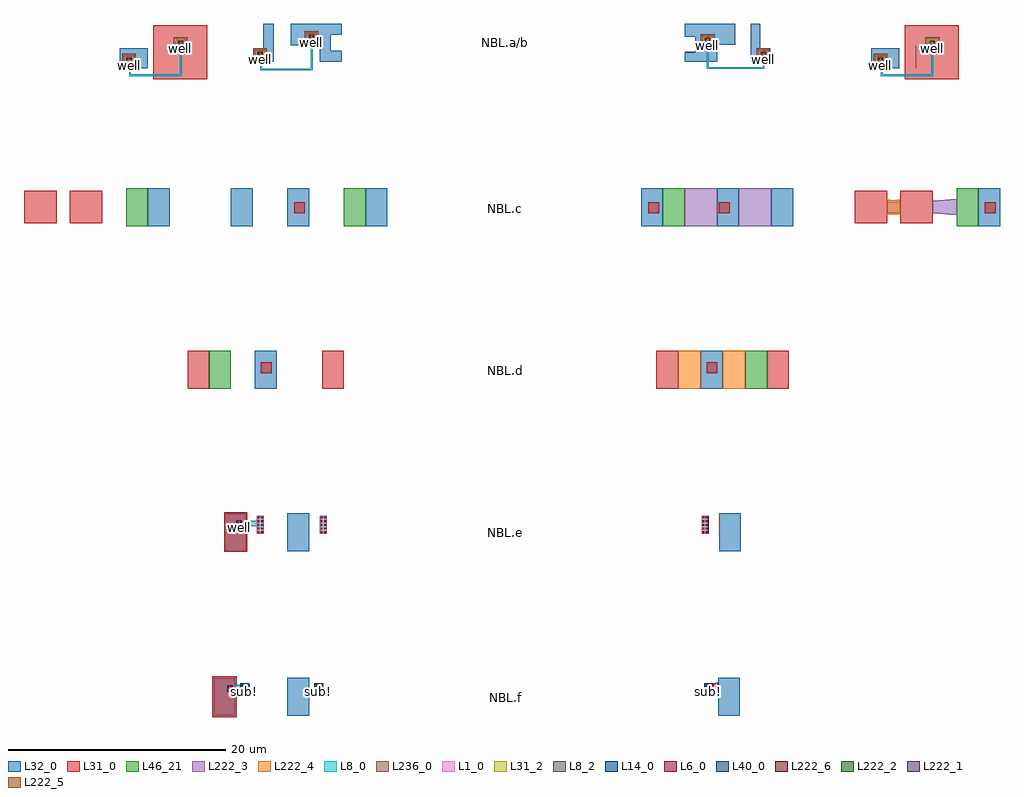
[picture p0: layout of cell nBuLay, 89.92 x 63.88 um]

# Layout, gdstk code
import gdstk
lib = gdstk.Library(unit=1e-6, precision=1e-09)
def R(c, l, rs):  # rectangles x0, y0, x1, y1
    for r in rs: c.add(gdstk.rectangle(r[:2], r[2:], *l))
def A(c, l, x, y, w, h, nx, ny, dx, dy):  # array of equal rectangles
    R(c, l, [(x+i*dx, y+j*dy, x+i*dx+w, y+j*dy+h) for i in range(nx) for j in range(ny)])
def P(c, l, *ps):  # polygons
    for p in ps: c.add(gdstk.Polygon(p, *l))
L1_0 = (1, 0)
L6_0 = (6, 0)
L8_0 = (8, 0)
L8_2 = (8, 2)
L14_0 = (14, 0)
L31_0 = (31, 0)
L31_2 = (31, 2)
L32_0 = (32, 0)
L40_0 = (40, 0)
L46_21 = (46, 21)
L222_1 = (222, 1)
L222_2 = (222, 2)
L222_3 = (222, 3)
L222_4 = (222, 4)
L222_5 = (222, 5)
L222_6 = (222, 6)
L236_0 = (236, 0)

nbulay = lib.new_cell('nBuLay')
R(nbulay, L1_0, [(-25.79,-67.235,-25.01,-66.455), (-24.405,-67.15,-23.625,-66.37), (-17.605,-67.15,-16.825,-66.37), (18.31,-67.15,19.09,-66.37), (-22.905,-52.585,-22.265,-50.925), (-17.105,-52.585,-16.465,-50.925), (18.05,-52.585,18.69,-50.925), (-24.945,-52.02,-24.165,-51.24), (-35.085,-9.385,-34.305,-8.605), (34.165,-9.385,34.945,-8.605), (-23.01,-8.855,-22.23,-8.075), (23.375,-8.85,24.155,-8.07), (-30.335,-7.835,-29.555,-7.055), (38.915,-7.835,39.695,-7.055), (18.23,-7.57,19.01,-6.79), (-18.26,-7.305,-17.48,-6.525)])
A(nbulay, L6_0, -22.835, -52.515, 0.16, 0.16, 1, 5, 0, 0.34)
A(nbulay, L6_0, -22.495, -52.515, 0.16, 0.16, 1, 5, 0, 0.34)
A(nbulay, L6_0, -17.035, -52.515, 0.16, 0.16, 1, 5, 0, 0.34)
A(nbulay, L6_0, -16.695, -52.515, 0.16, 0.16, 1, 5, 0, 0.34)
A(nbulay, L6_0, 18.12, -52.515, 0.16, 0.16, 1, 5, 0, 0.34)
A(nbulay, L6_0, 18.46, -52.515, 0.16, 0.16, 1, 5, 0, 0.34)
R(nbulay, L6_0, [(-25.65,-67.095,-25.49,-66.935), (-25.31,-67.095,-25.15,-66.935), (-24.265,-67.01,-24.105,-66.85), (-23.925,-67.01,-23.765,-66.85), (-17.465,-67.01,-17.305,-66.85), (-17.125,-67.01,-16.965,-66.85), (18.45,-67.01,18.61,-66.85), (18.79,-67.01,18.95,-66.85), (-25.65,-66.755,-25.49,-66.595), (-25.31,-66.755,-25.15,-66.595), (-24.265,-66.67,-24.105,-66.51), (-23.925,-66.67,-23.765,-66.51), (-17.465,-66.67,-17.305,-66.51), (-17.125,-66.67,-16.965,-66.51), (18.45,-66.67,18.61,-66.51), (18.79,-66.67,18.95,-66.51), (-24.805,-51.88,-24.645,-51.72), (-24.465,-51.88,-24.305,-51.72), (-24.805,-51.54,-24.645,-51.38), (-24.465,-51.54,-24.305,-51.38), (-34.945,-9.245,-34.785,-9.085), (-34.605,-9.245,-34.445,-9.085), (34.305,-9.245,34.465,-9.085), (34.645,-9.245,34.805,-9.085), (-34.945,-8.905,-34.785,-8.745), (-34.605,-8.905,-34.445,-8.745), (34.305,-8.905,34.465,-8.745), (34.645,-8.905,34.805,-8.745), (-22.87,-8.715,-22.71,-8.555), (-22.53,-8.715,-22.37,-8.555), (23.515,-8.71,23.675,-8.55), (23.855,-8.71,24.015,-8.55), (-22.87,-8.375,-22.71,-8.215), (-22.53,-8.375,-22.37,-8.215), (23.515,-8.37,23.675,-8.21), (23.855,-8.37,24.015,-8.21), (-30.195,-7.695,-30.035,-7.535), (-29.855,-7.695,-29.695,-7.535), (39.055,-7.695,39.215,-7.535), (39.395,-7.695,39.555,-7.535), (18.37,-7.43,18.53,-7.27), (18.71,-7.43,18.87,-7.27), (-30.195,-7.355,-30.035,-7.195), (-29.855,-7.355,-29.695,-7.195), (39.055,-7.355,39.215,-7.195), (39.395,-7.355,39.555,-7.195), (-18.12,-7.165,-17.96,-7.005), (-17.78,-7.165,-17.62,-7.005), (18.37,-7.09,18.53,-6.93), (18.71,-7.09,18.87,-6.93), (-18.12,-6.825,-17.96,-6.665), (-17.78,-6.825,-17.62,-6.665)])
R(nbulay, L8_0, [(-25.65,-67.145,-25.15,-66.545), (-24.265,-67.09,-23.765,-66.455), (-17.465,-67.09,-16.965,-66.455), (-25.7,-67.08,-23.58,-66.475), (18.45,-67.07,18.95,-66.455), (-24.265,-67.06,-23.765,-66.46), (-17.465,-67.06,-16.965,-66.46), (18.45,-67.06,18.95,-66.46), (-22.885,-52.515,-22.285,-50.995), (-17.085,-52.515,-16.485,-50.995), (18.07,-52.515,18.67,-50.995), (-24.805,-51.93,-24.305,-51.33), (-24.93,-51.895,-22.58,-51.37), (-34.945,-9.295,-34.445,-8.695), (34.305,-9.295,34.805,-8.695), (-22.87,-8.765,-22.37,-8.165), (23.515,-8.76,24.015,-8.16), (-30.195,-7.745,-29.695,-7.145), (39.055,-7.745,39.555,-7.145), (18.37,-7.48,18.87,-6.88), (-18.12,-7.215,-17.62,-6.615)])
R(nbulay, L8_2, [(-25.65,-67.145,-25.15,-66.545), (-24.265,-67.01,-23.765,-66.51), (-17.465,-67.01,-16.965,-66.51), (18.45,-67.01,18.95,-66.51), (-24.805,-51.93,-24.305,-51.33), (-34.945,-9.295,-34.445,-8.695), (34.305,-9.295,34.805,-8.695), (-22.87,-8.765,-22.37,-8.165), (23.515,-8.76,24.015,-8.16), (-30.195,-7.745,-29.695,-7.145), (39.055,-7.745,39.555,-7.145), (18.37,-7.48,18.87,-6.88), (-18.12,-7.215,-17.62,-6.615)])
R(nbulay, L14_0, [(-24.435,-67.18,-23.595,-66.34), (-17.635,-67.18,-16.795,-66.34), (18.28,-67.18,19.12,-66.34)])
R(nbulay, L31_0, [(-27.025,-69.47,-24.78,-65.68), (-25.935,-54.225,-23.805,-50.61), (-29.305,-39.22,-27.305,-35.72), (-16.9,-39.22,-14.9,-35.72), (13.89,-39.22,15.89,-35.72), (24.09,-39.22,26.09,-35.72), (-22.545,-37.775,-21.545,-36.775), (18.52,-37.775,19.52,-36.775), (-44.37,-23.985,-41.36,-20.975), (-40.16,-23.985,-37.15,-20.975), (32.15,-23.985,35.16,-20.975), (36.35,-23.985,39.36,-20.975), (-19.49,-23.04,-18.49,-22.04), (13.15,-23.035,14.15,-22.035), (19.65,-23.035,20.65,-22.035), (44.15,-23.035,45.15,-22.035), (-32.47,-10.7,-27.47,-5.7), (36.77,-10.7,41.77,-5.7), (-35.325,-9.625,-34.065,-8.365), (33.925,-9.625,35.185,-8.365), (-23.25,-9.095,-21.99,-7.835), (23.135,-9.09,24.395,-7.83), (-30.575,-8.075,-29.315,-6.815), (38.675,-8.075,39.935,-6.815), (17.99,-7.81,19.25,-6.55), (-18.5,-7.545,-17.24,-6.285)])
R(nbulay, L31_2, [(-35.06,-9.435,-34.28,-8.655), (34.135,-9.39,34.915,-8.61), (-23.01,-8.855,-22.23,-8.075), (23.375,-8.85,24.155,-8.07), (-30.34,-7.825,-29.56,-7.045), (38.89,-7.81,39.67,-7.03), (18.23,-7.57,19.01,-6.79), (-18.26,-7.305,-17.48,-6.525)])
R(nbulay, L32_0, [(-26.895,-69.325,-24.9,-65.825), (-20.105,-69.325,-18.105,-65.825), (19.58,-69.325,21.58,-65.825), (-25.895,-54.17,-23.895,-50.67), (-20.105,-54.17,-18.105,-50.67), (19.68,-54.17,21.68,-50.67), (-23.105,-39.22,-21.105,-35.72), (17.99,-39.22,19.99,-35.72), (-32.95,-24.23,-30.95,-20.73), (-25.305,-24.23,-23.305,-20.73), (-20.105,-24.23,-18.105,-20.73), (-12.905,-24.23,-10.905,-20.73), (12.49,-24.23,14.49,-20.73), (19.49,-24.23,21.49,-20.73), (24.49,-24.23,26.49,-20.73), (43.55,-24.23,45.55,-20.73), (-35.53,-9.7,-32.97,-7.83), (33.71,-9.7,36.28,-7.83), (-23.25,-9.095,-21.99,-7.835), (-22.34,-9.095,-21.34,-5.595), (22.575,-9.09,23.475,-5.59), (23.135,-9.09,24.395,-7.83), (17.99,-7.81,19.25,-6.55), (-18.5,-7.545,-17.24,-6.285)])
P(nbulay, L32_0, [(-17.105,-9.09),(-17.105,-7.545),(-19.79,-7.545),(-19.79,-5.59),(-15.105,-5.59),(-15.105,-6.59),(-16.105,-6.59),(-16.105,-8.09),(-15.105,-8.09),(-15.105,-9.09)],
  [(16.49,-9.09),(16.49,-8.19),(17.49,-8.19),(17.49,-6.79),(16.49,-6.79),(16.49,-5.59),(21.175,-5.59),(21.175,-7.525),(19.49,-7.525),(19.49,-9.09)])
R(nbulay, L40_0, [(-24.405,-67.15,-23.625,-66.37), (-17.605,-67.15,-16.825,-66.37), (18.31,-67.15,19.09,-66.37)])
R(nbulay, L46_21, [(-27.305,-39.22,-25.305,-35.72), (22.095,-39.22,24.095,-35.72), (-34.95,-24.23,-32.95,-20.73), (-14.905,-24.23,-12.905,-20.73), (14.49,-24.23,16.49,-20.73), (41.55,-24.23,43.55,-20.73)])
R(nbulay, L222_1, [(16.49,-9.095,17.926,-9.085), (22.57,-8.266,22.58,-5.59), (16.49,-8.195,17.49,-8.185), (23.47,-7.83,23.48,-5.59)])
R(nbulay, L222_2, [(36.275,-9.7,36.285,-7.83), (37.765,-9.7,37.775,-7.657), (16.49,-8.195,17.49,-8.185), (22.57,-8.064,22.58,-5.59), (21.17,-7.525,21.18,-5.59), (16.49,-6.795,17.49,-6.785)])
R(nbulay, L222_3, [(16.49,-24.23,19.49,-20.73), (21.49,-24.23,24.49,-20.73), (35.16,-22.985,36.35,-21.975)])
P(nbulay, L222_3, [(41.55,-23.238),(39.36,-23.064),(39.36,-21.896),(41.55,-21.722)])
R(nbulay, L222_4, [(15.89,-39.22,17.99,-35.72), (19.99,-39.22,22.095,-35.72)])
P(nbulay, L222_4, [(35.16,-23.195),(35.16,-21.765),(35.755,-21.822),(36.35,-21.765),(36.35,-23.195),(35.755,-23.138)])
R(nbulay, L222_5, [(19.675,-52.726,19.685,-50.784), (18.685,-52.585,18.695,-50.925)])
P(nbulay, L222_6, [(19.58,-67.249),(19.09,-67.15),(19.09,-66.37),(19.58,-66.271)])
R(nbulay, L236_0, [(-35.325,-9.625,-34.065,-8.365), (33.925,-9.625,35.185,-8.365), (-23.25,-9.095,-21.99,-7.835), (23.135,-9.09,24.395,-7.83), (-30.575,-8.075,-29.315,-6.815), (38.675,-8.075,39.935,-6.815), (17.99,-7.81,19.25,-6.55), (-18.5,-7.545,-17.24,-6.285)])
nbulay.add(gdstk.FlexPath([(-34.6,-8.995),(-34.6,-10.335),(-29.935,-10.335),(-29.935,-7.445)], 0.16, ends="flush", simple_path=True, layer=8, datatype=0))  # L8_0
nbulay.add(gdstk.FlexPath([(34.65,-8.995),(34.65,-10.335),(39.315,-10.335),(39.315,-7.445)], 0.16, ends="flush", simple_path=True, layer=8, datatype=0))  # L8_0
nbulay.add(gdstk.FlexPath([(18.62,-7.18),(18.62,-9.665),(23.765,-9.665),(23.765,-8.46)], 0.16, ends="flush", simple_path=True, layer=8, datatype=0))  # L8_0
nbulay.add(gdstk.FlexPath([(-22.525,-8.465),(-22.525,-9.805),(-17.86,-9.805),(-17.86,-6.915)], 0.16, ends="flush", simple_path=True, layer=8, datatype=0))  # L8_0
nbulay.add(gdstk.Label('well', (-29.945,-7.835), layer=63, texttype=0))
nbulay.add(gdstk.Label('well', (-34.695,-9.385), layer=63, texttype=0))
nbulay.add(gdstk.Label('well', (39.305,-7.835), layer=63, texttype=0))
nbulay.add(gdstk.Label('well', (34.555,-9.385), layer=63, texttype=0))
nbulay.add(gdstk.Label('sub!', (-24.015,-67.14), layer=63, texttype=0))
nbulay.add(gdstk.Label('well', (-25.4,-67.235), layer=63, texttype=0))
nbulay.add(gdstk.Label('well', (-24.555,-52.02), layer=63, texttype=0))
nbulay.add(gdstk.Label('sub!', (-17.215,-67.14), layer=63, texttype=0))
nbulay.add(gdstk.Label('well', (-22.62,-8.855), layer=63, texttype=0))
nbulay.add(gdstk.Label('well', (23.765,-8.85), layer=63, texttype=0))
nbulay.add(gdstk.Label('well', (18.62,-7.57), layer=63, texttype=0))
nbulay.add(gdstk.Label('well', (-17.87,-7.305), layer=63, texttype=0))
nbulay.add(gdstk.Label('sub!', (18.7,-67.14), layer=63, texttype=0))
nbulay.add(gdstk.Label('NBL.f', (0,-67.655), layer=63, texttype=0))
nbulay.add(gdstk.Label('NBL.c', (0,-22.56), layer=63, texttype=0))
nbulay.add(gdstk.Label('NBL.a/b', (0,-7.295), layer=63, texttype=0))
nbulay.add(gdstk.Label('NBL.d', (0,-37.55), layer=63, texttype=0))
nbulay.add(gdstk.Label('NBL.e', (0,-52.5), layer=63, texttype=0))
nbulay.add(gdstk.Label('PASS', (-12,5), layer=63, texttype=0))
nbulay.add(gdstk.Label('FAIL', (12,5), layer=63, texttype=0))
nbulay.add(gdstk.Label('5.3 nBuLay', (0,21), layer=63, texttype=0))
nbulay.add(gdstk.Label('[@instanceName]', (-29.945,-7.445), layer=236, texttype=1))
nbulay.add(gdstk.Label('[@instanceName]', (-34.695,-8.995), layer=236, texttype=1))
nbulay.add(gdstk.Label('[@instanceName]', (39.305,-7.445), layer=236, texttype=1))
nbulay.add(gdstk.Label('[@instanceName]', (34.555,-8.995), layer=236, texttype=1))
nbulay.add(gdstk.Label('[@instanceName]', (-22.62,-8.465), layer=236, texttype=1))
nbulay.add(gdstk.Label('[@instanceName]', (23.765,-8.46), layer=236, texttype=1))
nbulay.add(gdstk.Label('[@instanceName]', (18.62,-7.18), layer=236, texttype=1))
nbulay.add(gdstk.Label('[@instanceName]', (-17.87,-6.915), layer=236, texttype=1))

lib.write_gds('nBuLay.gds')
